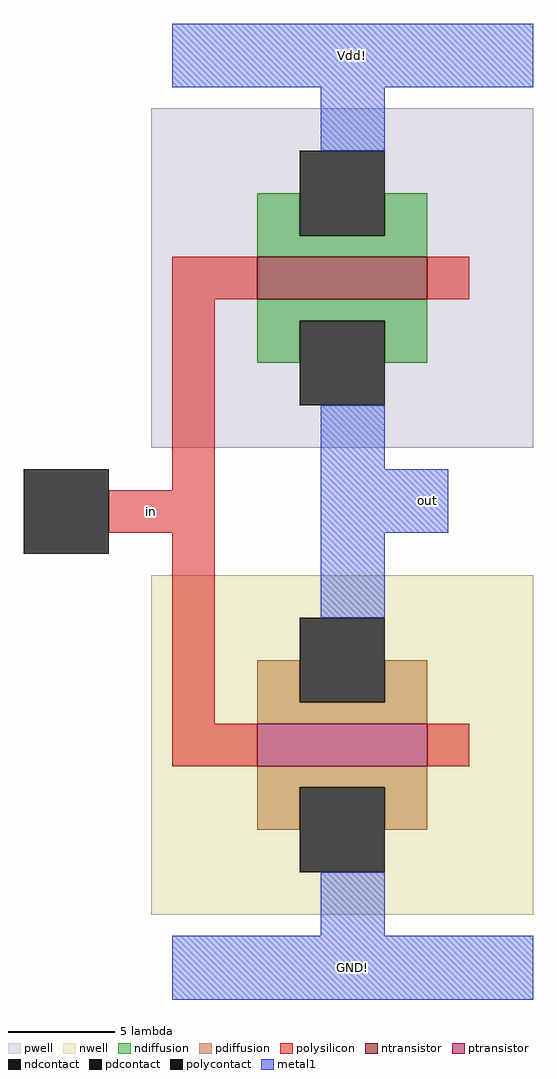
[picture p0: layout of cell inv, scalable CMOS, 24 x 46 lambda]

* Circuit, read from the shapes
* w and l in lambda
.subckt inv GND! Vdd! in out
M1 Vdd! in out VSUBS nfet w=8 l=2
M2 out in GND! n1 pfet w=8 l=2
.ends

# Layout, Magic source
magic
tech scmos
<< pwell >>
rect 20 11 38 27
<< nwell >>
rect 20 -11 38 5
<< polysilicon >>
rect 21 18 25 20
rect 33 18 35 20
rect 21 9 23 18
rect 18 7 23 9
rect 21 -2 23 7
rect 21 -4 25 -2
rect 33 -4 35 -2
<< ndiffusion >>
rect 25 21 27 23
rect 31 21 33 23
rect 25 20 33 21
rect 25 17 33 18
rect 25 15 27 17
rect 31 15 33 17
<< pdiffusion >>
rect 25 -1 27 1
rect 31 -1 33 1
rect 25 -2 33 -1
rect 25 -5 33 -4
rect 25 -7 27 -5
rect 31 -7 33 -5
<< metal1 >>
rect 21 28 38 31
rect 28 25 31 28
rect 28 10 31 13
rect 28 7 34 10
rect 28 3 31 7
rect 28 -12 31 -9
rect 21 -15 38 -12
<< ntransistor >>
rect 25 18 33 20
<< ptransistor >>
rect 25 -4 33 -2
<< polycontact >>
rect 14 6 18 10
<< ndcontact >>
rect 27 21 31 25
rect 27 13 31 17
<< pdcontact >>
rect 27 -1 31 3
rect 27 -9 31 -5
<< labels >>
rlabel metal1 32 7 34 10 7 out
rlabel metal1 21 28 38 31 1 Vdd!
rlabel metal1 21 -15 38 -12 5 GND!
rlabel polysilicon 19 7 21 9 7 in
<< end >>
